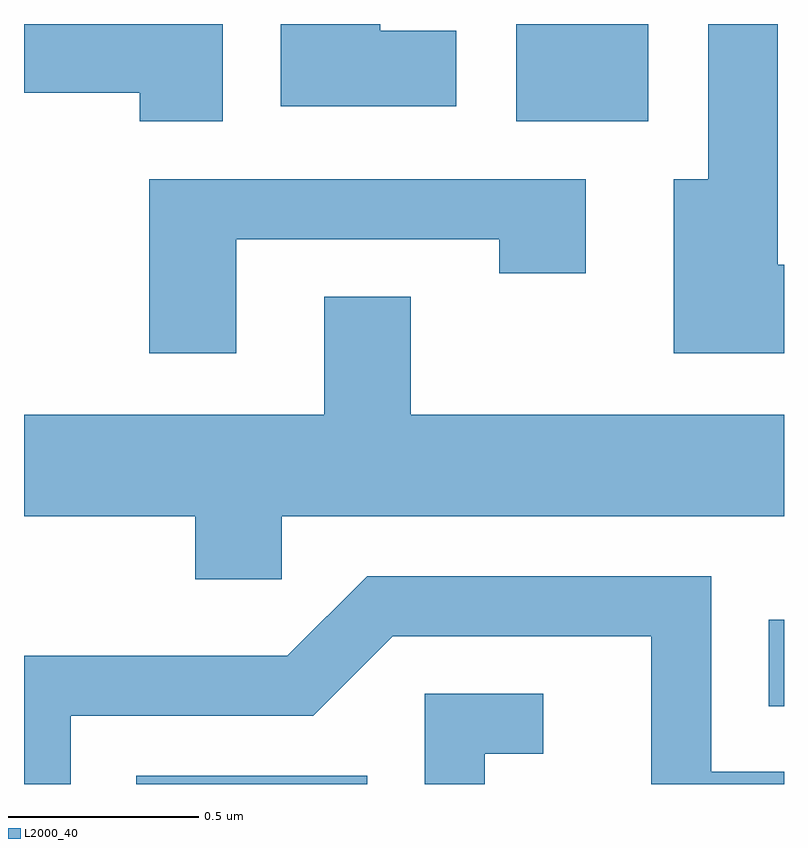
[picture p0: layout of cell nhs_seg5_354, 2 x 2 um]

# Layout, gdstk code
import gdstk
lib = gdstk.Library(unit=1e-6, precision=1e-09)
def R(c, l, rs):  # rectangles x0, y0, x1, y1
    for r in rs: c.add(gdstk.rectangle(r[:2], r[2:], *l))
def P(c, l, *ps):  # polygons
    for p in ps: c.add(gdstk.Polygon(p, *l))
L2000_40 = (2000, 40)

nhs_seg5_354 = lib.new_cell('nhs_seg5_354')
R(nhs_seg5_354, L2000_40, [(187.906,1476.072,188.514,1476.094), (189.571,1476.276,189.611,1476.504), (188.906,1477.816,189.254,1478.072)])
P(nhs_seg5_354, L2000_40, [(189.611,1477.439),(189.594,1477.439),(189.594,1478.072),(189.411,1478.072),(189.411,1477.664),(189.321,1477.664),(189.321,1477.206),(189.611,1477.206)],
  [(188.749,1478.054),(188.549,1478.054),(188.549,1478.072),(188.286,1478.072),(188.286,1477.856),(188.749,1477.856)],
  [(188.134,1478.072),(187.611,1478.072),(187.611,1477.891),(187.916,1477.891),(187.916,1477.816),(188.134,1477.816)],
  [(188.169,1477.506),(188.861,1477.506),(188.861,1477.416),(189.089,1477.416),(189.089,1477.664),(187.941,1477.664),(187.941,1477.206),(188.169,1477.206)],
  [(188.289,1476.776),(189.611,1476.776),(189.611,1477.044),(188.629,1477.044),(188.629,1477.354),(188.401,1477.354),(188.401,1477.044),(187.611,1477.044),(187.611,1476.776),(188.061,1476.776),(188.061,1476.611),(188.289,1476.611)],
  [(187.734,1476.251),(188.372,1476.251),(188.582,1476.461),(189.261,1476.461),(189.261,1476.072),(189.611,1476.072),(189.611,1476.104),(189.419,1476.104),(189.419,1476.619),(188.514,1476.619),(188.304,1476.409),(187.611,1476.409),(187.611,1476.072),(187.734,1476.072)],
  [(188.824,1476.151),(188.978,1476.151),(188.978,1476.309),(188.666,1476.309),(188.666,1476.072),(188.824,1476.072)])

lib.write_gds('nhs_seg5_354.gds')
